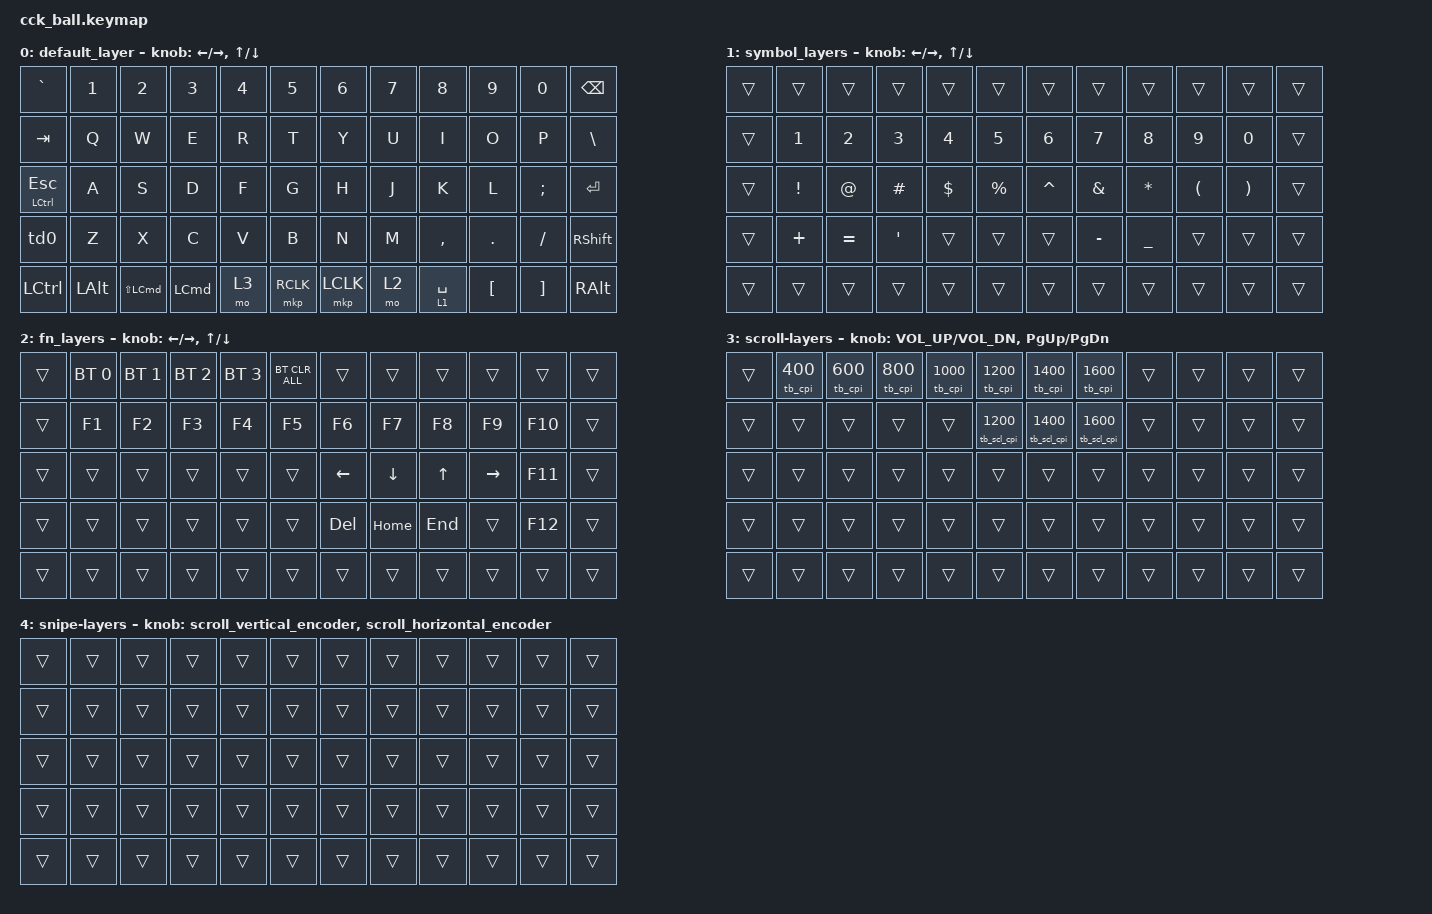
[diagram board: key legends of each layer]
#define ZMK_POINTING_DEFAULT_MOVE_VAL 1000 // 600
#define ZMK_POINTING_DEFAULT_SCRL_VAL 12   // 10

#include <input/processors.dtsi>
#include <zephyr/dt-bindings/input/input-event-codes.h>
#include <behaviors.dtsi>
#include <dt-bindings/zmk/bt.h>
#include <dt-bindings/zmk/keys.h>
#include <dt-bindings/zmk/pointing.h>

&mmv_input_listener { input-processors = <&zip_xy_scaler 2 1>; };

&msc_input_listener { input-processors = <&zip_scroll_scaler 2 1>; };

&msc {
    acceleration-exponent = <0>;      // 0
    time-to-max-speed-ms = <300>;       // 300
    delay-ms = <0>;                   // 0
};

&mmv {
    time-to-max-speed-ms = <500>;
    acceleration-exponent = <1>;
    trigger-period-ms = <16>;
};

/ {
    // 上下滚动编码器行为

    scroll_vertical_encoder: scroll_vertical_encoder {
        compatible = "zmk,behavior-sensor-rotate";
        #sensor-binding-cells = <0>;
        bindings = <&msc SCRL_DOWN>, <&msc SCRL_UP>;

        tap-ms = <100>;
    };

    // 左右滚动编码器行为

    scroll_horizontal_encoder: scroll_horizontal_encoder {
        compatible = "zmk,behavior-sensor-rotate";
        #sensor-binding-cells = <0>;
        bindings = <&msc SCRL_LEFT>, <&msc SCRL_RIGHT>;

        tap-ms = <100>;
    };

    td0: td0 {
        compatible = "zmk,behavior-tap-dance";
        #binding-cells = <0>;
        bindings = <&kp LEFT_SHIFT>, <&kp CAPS>;
    };

    behaviors {
    };

    combos {
        compatible = "zmk,combos";

        right_brace {
            bindings = <&kp RIGHT_BRACE>;
            key-positions = <19 20>;
        };

        left_brace {
            bindings = <&kp LEFT_BRACE>;
            key-positions = <16 15>;
        };

        double_quote {
            bindings = <&kp DOUBLE_QUOTES>;
            key-positions = <33 34>;
        };

        equal {
            bindings = <&kp EQUAL>;
            key-positions = <21 22>;
        };

        space {
            bindings = <&kp SPACE>;
            key-positions = <25 26>;
        };

        single_quota {
            bindings = <&kp SINGLE_QUOTE>;
            key-positions = <46 45>;
        };
    };

    keymap {
        compatible = "zmk,keymap";

        default_layer {
            bindings = <
&kp GRAVE         &kp N1        &kp N2                &kp N3            &kp N4  &kp N5     &kp N6     &kp N7  &kp N8       &kp N9            &kp N0             &kp BACKSPACE
&kp TAB           &kp Q         &kp W                 &kp E             &kp R   &kp T      &kp Y      &kp U   &kp I        &kp O             &kp P              &kp BSLH
&mt LCTRL ESCAPE  &kp A         &kp S                 &kp D             &kp F   &kp G      &kp H      &kp J   &kp K        &kp L             &kp SEMI           &kp RETURN
&td0              &kp Z         &kp X                 &kp C             &kp V   &kp B      &kp N      &kp M   &kp COMMA    &kp DOT           &kp SLASH          &kp RIGHT_SHIFT
&kp LCTRL         &kp LEFT_ALT  &kp LS(LEFT_COMMAND)  &kp LEFT_COMMAND  &mo 3   &mkp RCLK  &mkp LCLK  &mo 2   &lt 1 SPACE  &kp LEFT_BRACKET  &kp RIGHT_BRACKET  &kp RIGHT_ALT
            >;

            sensor-bindings =
                <&inc_dec_kp LEFT_ARROW RIGHT_ARROW>,
                <&inc_dec_kp UP_ARROW DOWN_ARROW>;
        };

        symbol_layers {
            bindings = <
&trans  &trans           &trans       &trans            &trans      &trans       &trans     &trans         &trans          &trans                &trans                 &trans
&trans  &kp N1           &kp N2       &kp N3            &kp N4      &kp N5       &kp N6     &kp N7         &kp N8          &kp N9                &kp N0                 &trans
&trans  &kp EXCLAMATION  &kp AT_SIGN  &kp HASH          &kp DOLLAR  &kp PERCENT  &kp CARET  &kp AMPERSAND  &kp ASTERISK    &kp LEFT_PARENTHESIS  &kp RIGHT_PARENTHESIS  &trans
&trans  &kp PLUS         &kp EQUAL    &kp SINGLE_QUOTE  &trans      &trans       &trans     &kp MINUS      &kp UNDERSCORE  &trans                &trans                 &trans
&trans  &trans           &trans       &trans            &trans      &trans       &trans     &trans         &trans          &trans                &trans                 &trans
            >;

            sensor-bindings =
                <&inc_dec_kp LEFT_ARROW RIGHT_ARROW>,
                <&inc_dec_kp UP_ARROW DOWN_ARROW>;
        };

        fn_layers {
            bindings = <
&trans  &bt BT_SEL 0  &bt BT_SEL 1  &bt BT_SEL 2  &bt BT_SEL 3  &bt BT_CLR_ALL  &trans          &trans          &trans        &trans           &trans   &trans
&trans  &kp F1        &kp F2        &kp F3        &kp F4        &kp F5          &kp F6          &kp F7          &kp F8        &kp F9           &kp F10  &trans
&trans  &trans        &trans        &trans        &trans        &trans          &kp LEFT_ARROW  &kp DOWN_ARROW  &kp UP_ARROW  &kp RIGHT_ARROW  &kp F11  &trans
&trans  &trans        &trans        &trans        &trans        &trans          &kp DELETE      &kp HOME        &kp END       &trans           &kp F12  &trans
&trans  &trans        &trans        &trans        &trans        &trans          &trans          &trans          &trans        &trans           &trans   &trans
            >;

            sensor-bindings =
                <&inc_dec_kp LEFT_ARROW RIGHT_ARROW>,
                <&inc_dec_kp UP_ARROW DOWN_ARROW>;
        };

        scroll-layers {
            bindings = <
&trans  &tb_cpi 400  &tb_cpi 600  &tb_cpi 800  &tb_cpi 1000 &tb_cpi 1200      &tb_cpi 1400      &tb_cpi 1600       &trans  &trans  &trans  &trans
&trans  &trans       &trans       &trans       &trans       &tb_scl_cpi 1200  &tb_scl_cpi 1400  &tb_scl_cpi 1600   &trans  &trans  &trans  &trans
&trans  &trans       &trans       &trans       &trans       &trans            &trans            &trans             &trans  &trans  &trans  &trans
&trans  &trans       &trans       &trans       &trans       &trans            &trans            &trans             &trans  &trans  &trans  &trans
&trans  &trans       &trans       &trans       &trans       &trans            &trans            &trans             &trans  &trans  &trans  &trans
            >;

            sensor-bindings = <&inc_dec_kp C_VOL_UP C_VOL_DN &inc_dec_kp PG_UP PG_DN>;
        };

        snipe-layers {
            bindings = <
&trans  &trans  &trans  &trans  &trans  &trans  &trans  &trans  &trans  &trans  &trans  &trans
&trans  &trans  &trans  &trans  &trans  &trans  &trans  &trans  &trans  &trans  &trans  &trans
&trans  &trans  &trans  &trans  &trans  &trans  &trans  &trans  &trans  &trans  &trans  &trans
&trans  &trans  &trans  &trans  &trans  &trans  &trans  &trans  &trans  &trans  &trans  &trans
&trans  &trans  &trans  &trans  &trans  &trans  &trans  &trans  &trans  &trans  &trans  &trans
            >;

            sensor-bindings =
                <&scroll_vertical_encoder>,
                // 编码器1：上下滚动,,,,,,
                <&scroll_horizontal_encoder>;

            // 编码器2：左右滚动
        };
    };
};
